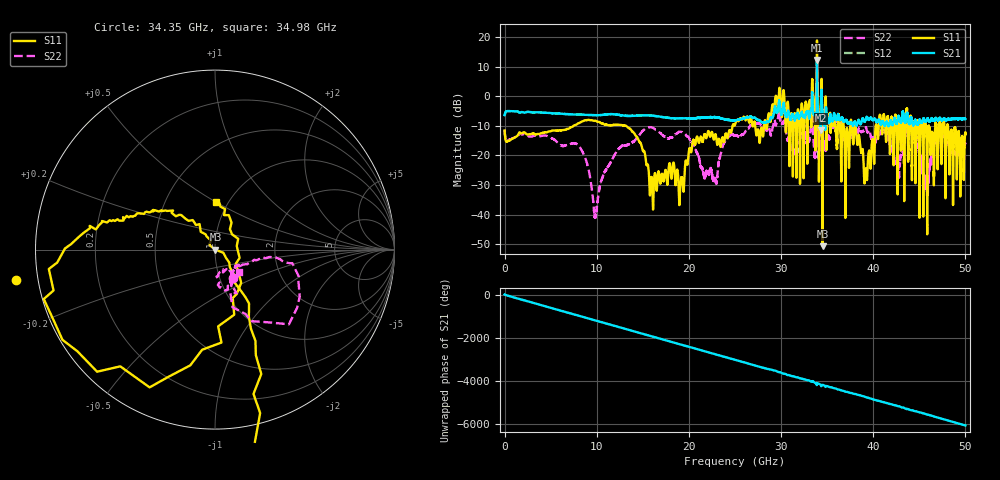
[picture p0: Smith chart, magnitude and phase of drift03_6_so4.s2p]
!Created with skrf (http://scikit-rf.org).
# Hz S RI R 50.0
!freq ReS11 ImS11 ReS21 ImS21 ReS12 ImS12 ReS22 ImS22
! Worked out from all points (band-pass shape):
!   10001 points, 300 kHz to 50 GHz, reference 50 ohm
!   highest |S21| = 12.20 dB at 33.9 GHz (marker M1); lowest = -11.5 dB at 34.32 GHz (marker M2)
!   |S21| within 3 dB of the highest: 33.88964 GHz to 33.90672 GHz (17.08 MHz wide, 0.0504 % of centre)
!   lowest |S11| = -50.7 dB at 34.5 GHz (marker M3), VSWR 1.01, Z = 50.3 - j0.0943 ohm
!   |S11| at or under -10 dB: start of sweep to 7.487 GHz; 13.13 GHz to 24.74 GHz (11.61 GHz wide, 61.3 % of centre); 38.08 GHz to 40.27 GHz (2.187 GHz wide, 5.58 % of centre) (the widest 3 of 47)
!   |S22| runs from -41.1 to 4.5 dB; largest |S21 - S12| = 0.31
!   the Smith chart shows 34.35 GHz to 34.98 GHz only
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300000  -0.2368 -0.1145  0.4683 0.0764  0.4666 0.0773  -0.2376 -0.1222
1.440291e9  0.2097 0.0645  -0.5479 -0.0293  -0.548 -0.0291  0.2109 -0.00471
2.915283e9  -0.2118 -0.088  0.5335 0.0512  0.5341 0.051  -0.2027 0.0404
4.415274e9  0.2066 0.1322  -0.5219 -0.0413  -0.5215 -0.0411  0.197 -0.0873
8.33525e9  0.2886 -0.2333  0.147 0.4651  0.1471 0.4655  -0.0735 -0.1
9.855241e9  -0.3608 0.1351  -0.1583 -0.4485  -0.1582 -0.4486  0.00884 0.00266
1.115523e10  0.3172 0.0813  -0.0427 0.4905  -0.0421 0.4903  -0.0474 0.0395
1.263522e10  -0.3126 -0.0939  0.0285 -0.4739  0.0285 -0.4749  0.0761 -0.1172
1.66702e10  0.0276 0.0446  -0.3766 0.2546  -0.3773 0.2549  -0.1259 -0.2181
1.787019e10  0.0681 -0.0241  0.4288 0.0143  0.4284 0.0147  -0.0351 0.1916
2.281516e10  0.00266 0.2157  -0.2732 0.349  -0.2757 0.3502  -0.0307 0.0271
2.500015e10  -0.3257 -0.0128  -0.2562 -0.2949  -0.2549 -0.2963  -0.2125 0.0268
2.895013e10  -0.3169 0.4219  -0.2894 0.3255  -0.3014 0.2898  0.0611 0.2188
3.006512e10  0.393 0.2613  0.446 -0.199  0.4504 -0.1843  0.169 -0.298
3.171011e10  -0.0877 0.1891  -0.3577 0.3585  -0.3564 0.3584  0.0656 0.1576
3.33351e10  0.5639 -0.8168  0.2245 -0.8211  0.2278 -0.8027  -0.1918 -0.4039
3.38951e10  -2.1 -8.486  -4.022 0.6438  -3.761 0.8159  0.4276 1.633
3.432009e10  -0.7763 0.00338  -0.1807 0.1954  -0.24 0.1764  0.1433 -0.0683
3.450009e10  0.00276 -0.000938  -0.4449 0.2953  -0.4117 0.2741  0.1895 -0.0751
3.918006e10  0.0532 0.0188  0.2034 -0.3459  0.2133 -0.3406  -0.2666 -0.1238
4.167005e10  -0.1824 0.3057  0.3103 0.00589  0.3124 0.0116  -0.1916 -0.00553
5e10  -0.1301 -0.2015  0.1532 0.3814  0.1519 0.384  -0.0576 -0.1446
